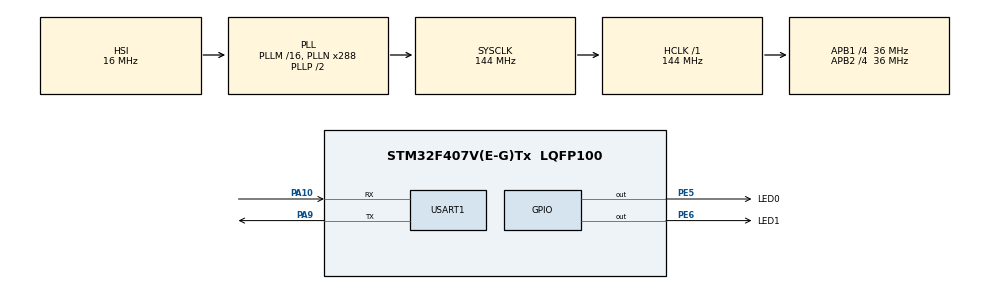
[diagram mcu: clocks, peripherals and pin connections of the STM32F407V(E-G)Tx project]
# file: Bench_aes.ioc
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Mcu.Family=STM32F4
Mcu.Name=STM32F407V(E-G)Tx
Mcu.Package=LQFP100
NVIC.PriorityGroup=NVIC_PRIORITYGROUP_4
NVIC.TIM1_UP_TIM10_IRQn=true\:0\:0\:false\:false\:true\:true\:true
NVIC.USART1_IRQn=true\:0\:0\:false\:false\:true\:true\:true
PA10.Mode=Asynchronous
PA10.Signal=USART1_RX
PA13.Mode=Serial_Wire
PA13.Signal=SYS_JTMS-SWDIO
PA14.Mode=Serial_Wire
PA14.Signal=SYS_JTCK-SWCLK
PA9.Mode=Asynchronous
PA9.Signal=USART1_TX
PE5.GPIO_Label=LED0
PE5.Signal=GPIO_Output
PE6.GPIO_Label=LED1
PE6.Signal=GPIO_Output
PH0-OSC_IN.Mode=HSE-External-Oscillator
PH0-OSC_IN.Signal=RCC_OSC_IN
PH1-OSC_OUT.Mode=HSE-External-Oscillator
PH1-OSC_OUT.Signal=RCC_OSC_OUT
ProjectManager.HeapSize=0x200
ProjectManager.StackSize=0x400
ProjectManager.TargetToolchain=Makefile
RCC.48MHZClocksFreq_Value=72000000
RCC.AHBFreq_Value=144000000
RCC.APB1CLKDivider=RCC_HCLK_DIV4
RCC.APB1Freq_Value=36000000
RCC.APB1TimFreq_Value=72000000
RCC.APB2CLKDivider=RCC_HCLK_DIV4
RCC.APB2Freq_Value=36000000
RCC.APB2TimFreq_Value=72000000
RCC.CortexFreq_Value=144000000
RCC.HCLKFreq_Value=144000000
RCC.HSE_VALUE=25000000
RCC.HSI_VALUE=16000000
RCC.LSE_VALUE=32768
RCC.PLLN=288
RCC.SYSCLKFreq_VALUE=144000000
RCC.SYSCLKSource=RCC_SYSCLKSOURCE_PLLCLK
RCC.VCOOutputFreq_Value=288000000
TIM1.Period=99
TIM1.Prescaler=7199
USART1.VirtualMode=VM_ASYNC
VP_TIM1_VS_ClockSourceINT.Mode=Internal
board=custom

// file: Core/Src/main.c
/* USER CODE BEGIN Header */
/**
  ******************************************************************************
  * @file           : main.c
  * @brief          : Main program body
  ******************************************************************************
  * @attention
  *
  * <h2><center>&copy; Copyright (c) 2023 STMicroelectronics.
  * All rights reserved.</center></h2>
  *
  * This software component is licensed by ST under BSD 3-Clause license,
  * the "License"; You may not use this file except in compliance with the
  * License. You may obtain a copy of the License at:
  *                        opensource.org/licenses/BSD-3-Clause
  *
  ******************************************************************************
  */
/* USER CODE END Header */
#include "main.h"
#include "tim.h"
#include "usart.h"
#include "gpio.h"

/* USER CODE BEGIN PD */
//使用printf一定要加\n
#ifdef __GNUC__
	#define PUTCHAR_PROTOTYPE int __io_putchar(int ch)
#else
	#define PUTCHAR_PROTOTYPE int fputc(int ch, FILE *f)
#endif
PUTCHAR_PROTOTYPE
{
  uint8_t temp[1]={ch};
  HAL_UART_Transmit(&huart1,temp,1,0xffff);
  return ch;
}
int _write(int file, char *ptr, int len)
{
  int DataIdx;
  for (DataIdx=0;DataIdx<len;DataIdx++)
  {
    __io_putchar(*ptr++);
  }
  return len;
}
/* USER CODE END PD */

void SystemClock_Config(void);

int main(void)
{
  /* USER CODE BEGIN 1 */
	uint8_t len;	  //串口数据长度
  uint8_t times;  //测试时间相关
  uint8_t i, j;
  uint8_t str1[100];          //分组接收字符
  unsigned char num[16]={0};  //存放字符串转数组后数据
  unsigned char temp[16]={0}; //临时测试存储数组
  /* USER CODE END 1 */

  /* MCU Configuration--------------------------------------------------------*/

  /* Reset of all peripherals, Initializes the Flash interface and the Systick. */
  HAL_Init();

  /* Configure the system clock */
  SystemClock_Config();

  /* Initialize all configured peripherals */
  MX_GPIO_Init();
  MX_TIM1_Init();
  MX_USART1_UART_Init();
  /* USER CODE BEGIN 2 */
  HAL_GPIO_WritePin(LED0_GPIO_Port,LED0_Pin,GPIO_PIN_SET);
  HAL_GPIO_WritePin(LED1_GPIO_Port,LED1_Pin,GPIO_PIN_SET);
  /* USER CODE END 2 */

  /* Infinite loop */
  while (1)
  {
     if(USART_RX_STA&0x8000)
		{
			len=USART_RX_STA&0x3fff;//数据长度
			printf("\r\nYou are sending a message as:%d\r\n",len);
      HAL_UART_Transmit(&huart1,(uint8_t*)USART_RX_BUF,len,1000);
      while(__HAL_UART_GET_FLAG(&huart1,UART_FLAG_TC)!=SET);
      printf("\r\n");
			USART_RX_STA=0;
		}else
		{
			times++;
			if(times%5000==0)
			{
			  //printf("Please enter the data and end with the Enter key.\r\n\r\n\r\n");
        HAL_GPIO_TogglePin(LED1_GPIO_Port,LED1_Pin);
        HAL_Delay(50);
			}
    }
  }
}

void SystemClock_Config(void)
{
  RCC_OscInitTypeDef RCC_OscInitStruct = {0};
  RCC_ClkInitTypeDef RCC_ClkInitStruct = {0};

  /** Configure the main internal regulator output voltage
  */
  __HAL_RCC_PWR_CLK_ENABLE();
  __HAL_PWR_VOLTAGESCALING_CONFIG(PWR_REGULATOR_VOLTAGE_SCALE1);
  /** Initializes the RCC Oscillators according to the specified parameters
  * in the RCC_OscInitTypeDef structure.
  */
  RCC_OscInitStruct.OscillatorType = RCC_OSCILLATORTYPE_HSI;
  RCC_OscInitStruct.HSIState = RCC_HSI_ON;
  RCC_OscInitStruct.HSICalibrationValue = RCC_HSICALIBRATION_DEFAULT;
  RCC_OscInitStruct.PLL.PLLState = RCC_PLL_ON;
  RCC_OscInitStruct.PLL.PLLSource = RCC_PLLSOURCE_HSI;
  RCC_OscInitStruct.PLL.PLLM = 16;
  RCC_OscInitStruct.PLL.PLLN = 288;
  RCC_OscInitStruct.PLL.PLLP = RCC_PLLP_DIV2;
  RCC_OscInitStruct.PLL.PLLQ = 4;
  if (HAL_RCC_OscConfig(&RCC_OscInitStruct) != HAL_OK)
  {
    Error_Handler();
  }
  /** Initializes the CPU, AHB and APB buses clocks
  */
  RCC_ClkInitStruct.ClockType = RCC_CLOCKTYPE_HCLK|RCC_CLOCKTYPE_SYSCLK
                              |RCC_CLOCKTYPE_PCLK1|RCC_CLOCKTYPE_PCLK2;
  RCC_ClkInitStruct.SYSCLKSource = RCC_SYSCLKSOURCE_PLLCLK;
  RCC_ClkInitStruct.AHBCLKDivider = RCC_SYSCLK_DIV1;
  RCC_ClkInitStruct.APB1CLKDivider = RCC_HCLK_DIV4;
  RCC_ClkInitStruct.APB2CLKDivider = RCC_HCLK_DIV4;

  if (HAL_RCC_ClockConfig(&RCC_ClkInitStruct, FLASH_LATENCY_4) != HAL_OK)
  {
    Error_Handler();
  }
}

void Error_Handler(void)
{
  __disable_irq();
  while (1)
  {
  }
}

/************************ (C) COPYRIGHT STMicroelectronics *****END OF FILE****/
